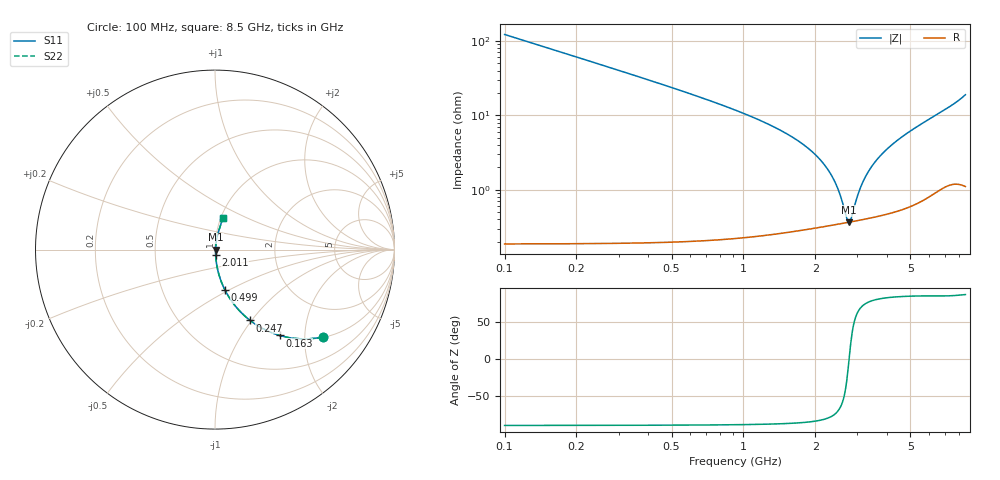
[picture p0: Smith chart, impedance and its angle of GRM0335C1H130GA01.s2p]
!Murata Part Number: GRM0335C1H130GA01
!These Parameters are Measured in Series Mode Connection
!Data Generated on Mar 30, 2021
!  o--ll--o
!Port1  Port2
!  o------o
!Operation Temp=25[degC], DC Bias Voltage=0[V]
!Freq. Start=100[MHz] Stop=9[GHz] 401[Steps]
# Hz S RI R 50
!Freq.(Hz) S11(Real) S11(Imag) S21(Real) S21(Imag) S12(Real) S12(Imag) S22(Real) S22(Imag)
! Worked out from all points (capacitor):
!   401 points, 100 MHz to 8.5 GHz, reference 50 ohm
!   read as one part in series: C = 13 pF near 142 MHz
!   lowest |Z| = 366 mohm at 2.767 GHz (marker M1)
!   series resonance near 2.77 GHz, so ESL is about 250 pH
!   S11 on the Smith chart (normalised r, x): 100 MHz: 1.00, -2.45; 163 MHz: 1.00, -1.50; 247 MHz: 1.00, -0.98; 499 MHz: 1.00, -0.47; 2.011 GHz: 1.01, -0.06; 8.5 GHz: 1.02, +0.38
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1e8  0.599 -0.4893  0.401 0.4893  0.401 0.4893  0.599 -0.4893
1.63e8  0.3594 -0.4786  0.6406 0.4786  0.6406 0.4786  0.3594 -0.4786
2.47e8  0.1956 -0.3948  0.8044 0.3948  0.8044 0.3948  0.1956 -0.3948
3.52e8  0.1062 -0.3053  0.8938 0.3053  0.8938 0.3053  0.1062 -0.3053
4.99e8  0.055 -0.2239  0.945 0.2239  0.945 0.2239  0.055 -0.2239
8.56e8  0.0185 -0.1267  0.9815 0.1267  0.9815 0.1267  0.0185 -0.1267
1.507e9  0.00589 -0.0568  0.9941 0.0568  0.9941 0.0568  0.00589 -0.0568
2.011e9  0.00388 -0.0288  0.9961 0.0288  0.9961 0.0288  0.00388 -0.0288
2.221e9  0.00361 -0.0197  0.9964 0.0197  0.9964 0.0197  0.00361 -0.0197
2.389e9  0.00353 -0.0132  0.9965 0.0132  0.9965 0.0132  0.00353 -0.0132
2.536e9  0.00353 -0.00788  0.9965 0.00788  0.9965 0.00788  0.00353 -0.00788
2.704e9  0.0036 -0.00217  0.9964 0.00217  0.9964 0.00217  0.0036 -0.00217
2.767e9  0.00365 -0.00011  0.9964 0.00011  0.9964 0.00011  0.00365 -0.00011
2.83e9  0.0037 0.00191  0.9963 -0.00191  0.9963 -0.00191  0.0037 0.00191
2.914e9  0.00378 0.00454  0.9962 -0.00454  0.9962 -0.00454  0.00378 0.00454
3.124e9  0.00405 0.0109  0.996 -0.0109  0.996 -0.0109  0.00405 0.0109
3.397e9  0.0045 0.0186  0.9955 -0.0186  0.9955 -0.0186  0.0045 0.0186
3.775e9  0.00531 0.0289  0.9947 -0.0289  0.9947 -0.0289  0.00531 0.0289
4.3e9  0.0068 0.0425  0.9932 -0.0425  0.9932 -0.0425  0.0068 0.0425
5.707e9  0.0136 0.0789  0.9864 -0.0789  0.9864 -0.0789  0.0136 0.0789
7.114e9  0.0257 0.1194  0.9743 -0.1194  0.9743 -0.1194  0.0257 0.1194
8.5e9  0.0444 0.1788  0.9556 -0.1788  0.9556 -0.1788  0.0444 0.1788
